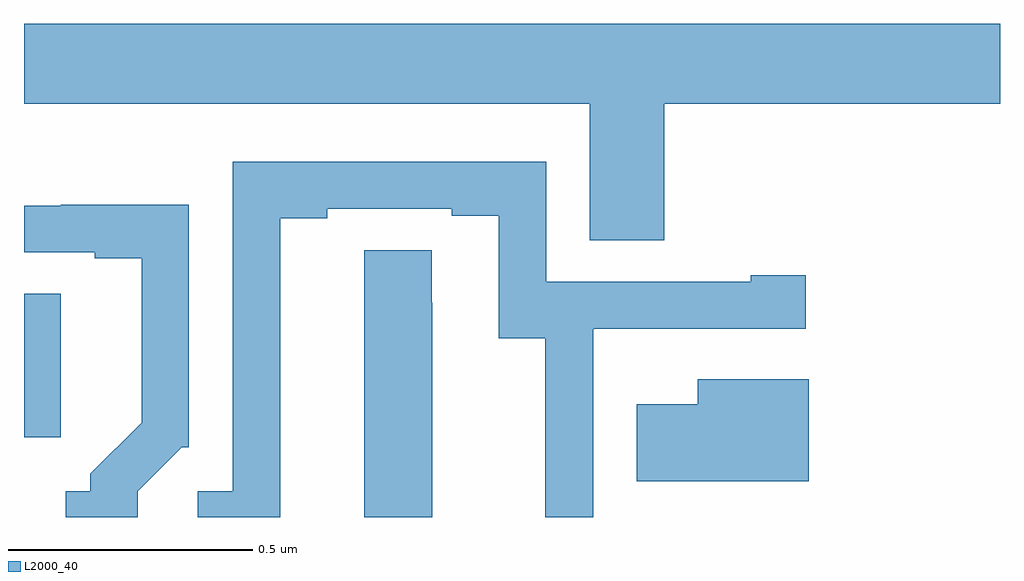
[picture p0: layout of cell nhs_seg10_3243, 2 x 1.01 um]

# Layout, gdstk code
import gdstk
lib = gdstk.Library(unit=1e-6, precision=1e-09)
def R(c, l, rs):  # rectangles x0, y0, x1, y1
    for r in rs: c.add(gdstk.rectangle(r[:2], r[2:], *l))
def P(c, l, *ps):  # polygons
    for p in ps: c.add(gdstk.Polygon(p, *l))
L2000_40 = (2000, 40)

nhs_seg10_3243 = lib.new_cell('nhs_seg10_3243')
R(nhs_seg10_3243, L2000_40, [(151,1267.664,151.075,1267.958)])
P(nhs_seg10_3243, L2000_40, [(152.312,1268.348),(153,1268.348),(153,1268.512),(151,1268.512),(151,1268.348),(152.159,1268.348),(152.159,1268.068),(152.312,1268.068)],
  [(151.525,1268.113),(151.621,1268.113),(151.621,1268.133),(151.877,1268.133),(151.877,1268.118),(151.973,1268.118),(151.973,1267.867),(152.068,1267.867),(152.068,1267.5),(152.166,1267.5),(152.166,1267.886),(152.168,1267.886),(152.168,1267.887),(152.602,1267.887),(152.602,1267.996),(152.489,1267.996),(152.489,1267.983),(152.07,1267.983),(152.07,1268.229),(151.428,1268.229),(151.428,1267.554),(151.356,1267.554),(151.356,1267.5),(151.525,1267.5)],
  [(151.233,1267.554),(151.323,1267.644),(151.338,1267.644),(151.338,1268.141),(151.075,1268.141),(151.075,1268.139),(151,1268.139),(151,1268.043),(151.145,1268.043),(151.145,1268.031),(151.241,1268.031),(151.241,1267.694),(151.136,1267.589),(151.136,1267.554),(151.086,1267.554),(151.086,1267.5),(151.233,1267.5)],
  [(151.837,1267.94),(151.836,1267.94),(151.836,1268.048),(151.697,1268.048),(151.697,1267.5),(151.837,1267.5)],
  [(152.608,1267.783),(152.381,1267.783),(152.381,1267.732),(152.256,1267.732),(152.256,1267.574),(152.608,1267.574)])

lib.write_gds('nhs_seg10_3243.gds')
